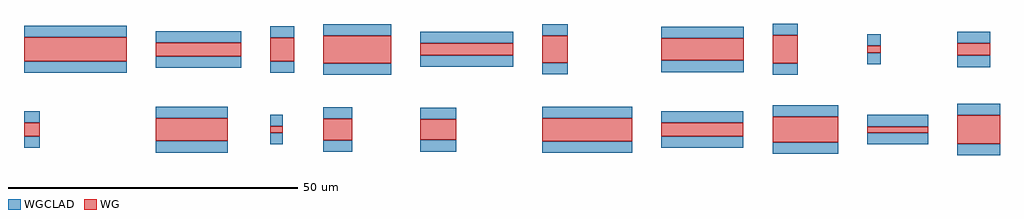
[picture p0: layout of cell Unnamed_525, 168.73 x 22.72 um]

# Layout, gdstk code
import gdstk
lib = gdstk.Library(unit=1e-6, precision=1e-09)
def R(c, l, rs):  # rectangles x0, y0, x1, y1
    for r in rs: c.add(gdstk.rectangle(r[:2], r[2:], *l))
WG = (1, 0)
WGCLAD = (111, 0)

straight_w4846_l4321_lwg = lib.new_cell('straight_W4846_L4321_LWG_EWGSTD')
R(straight_w4846_l4321_lwg, WG, [(0,-2.423,4.321,2.423)])
R(straight_w4846_l4321_lwg, WGCLAD, [(0,-4.423,4.321,-2.423), (0,2.423,4.321,4.423)])

straight_w3830_l14238_lw = lib.new_cell('straight_W3830_L14238_LWG_EWGSTD')
R(straight_w3830_l14238_lw, WG, [(0,-1.915,14.238,1.915)])
R(straight_w3830_l14238_lw, WGCLAD, [(0,-3.915,14.238,-1.915), (0,1.915,14.238,3.915)])

straight_w4680_l4388_lwg = lib.new_cell('straight_W4680_L4388_LWG_EWGSTD')
R(straight_w4680_l4388_lwg, WG, [(0,-2.34,4.388,2.34)])
R(straight_w4680_l4388_lwg, WGCLAD, [(0,-4.34,4.388,-2.34), (0,2.34,4.388,4.34)])

straight_w2060_l16113_lw = lib.new_cell('straight_W2060_L16113_LWG_EWGSTD')
R(straight_w2060_l16113_lw, WG, [(0,-1.03,16.113,1.03)])
R(straight_w2060_l16113_lw, WGCLAD, [(0,-3.03,16.113,-1.03), (0,1.03,16.113,3.03)])

straight_w1170_l2388_lwg = lib.new_cell('straight_W1170_L2388_LWG_EWGSTD')
R(straight_w1170_l2388_lwg, WG, [(0,-0.585,2.388,0.585)])
R(straight_w1170_l2388_lwg, WGCLAD, [(0,-2.585,2.388,-0.585), (0,0.585,2.388,2.585)])

straight_w4762_l11752_lw = lib.new_cell('straight_W4762_L11752_LWG_EWGSTD')
R(straight_w4762_l11752_lw, WG, [(0,-2.381,11.752,2.381)])
R(straight_w4762_l11752_lw, WGCLAD, [(0,-4.381,11.752,-2.381), (0,2.381,11.752,4.381)])

straight_w3598_l6196_lwg = lib.new_cell('straight_W3598_L6196_LWG_EWGSTD')
R(straight_w3598_l6196_lwg, WG, [(0,-1.799,6.196,1.799)])
R(straight_w3598_l6196_lwg, WGCLAD, [(0,-3.799,6.196,-1.799), (0,1.799,6.196,3.799)])

straight_w3962_l15564_lw = lib.new_cell('straight_W3962_L15564_LWG_EWGSTD')
R(straight_w3962_l15564_lw, WG, [(0,-1.981,15.564,1.981)])
R(straight_w3962_l15564_lw, WGCLAD, [(0,-3.981,15.564,-1.981), (0,1.981,15.564,3.981)])

straight_w1170_l2184_lwg = lib.new_cell('straight_W1170_L2184_LWG_EWGSTD')
R(straight_w1170_l2184_lwg, WG, [(0,-0.585,2.184,0.585)])
R(straight_w1170_l2184_lwg, WGCLAD, [(0,-2.585,2.184,-0.585), (0,0.585,2.184,2.585)])

straight_w3664_l5003_lwg = lib.new_cell('straight_W3664_L5003_LWG_EWGSTD')
R(straight_w3664_l5003_lwg, WG, [(0,-1.832,5.003,1.832)])
R(straight_w3664_l5003_lwg, WGCLAD, [(0,-3.832,5.003,-1.832), (0,1.832,5.003,3.832)])

straight_w3958_l12465_lw = lib.new_cell('straight_W3958_L12465_LWG_EWGSTD')
R(straight_w3958_l12465_lw, WG, [(0,-1.979,12.465,1.979)])
R(straight_w3958_l12465_lw, WGCLAD, [(0,-3.979,12.465,-1.979), (0,1.979,12.465,3.979)])

straight_w2304_l14141_lw = lib.new_cell('straight_W2304_L14141_LWG_EWGSTD')
R(straight_w2304_l14141_lw, WG, [(0,-1.152,14.141,1.152)])
R(straight_w2304_l14141_lw, WGCLAD, [(0,-3.152,14.141,-1.152), (0,1.152,14.141,3.152)])

straight_w4418_l11327_lw = lib.new_cell('straight_W4418_L11327_LWG_EWGSTD')
R(straight_w4418_l11327_lw, WG, [(0,-2.209,11.327,2.209)])
R(straight_w4418_l11327_lw, WGCLAD, [(0,-4.209,11.327,-2.209), (0,2.209,11.327,4.209)])

straight_w1040_l10619_lw = lib.new_cell('straight_W1040_L10619_LWG_EWGSTD')
R(straight_w1040_l10619_lw, WG, [(0,-0.52,10.619,0.52)])
R(straight_w1040_l10619_lw, WGCLAD, [(0,-2.52,10.619,-0.52), (0,0.52,10.619,2.52)])

straight_w2310_l2744_lwg = lib.new_cell('straight_W2310_L2744_LWG_EWGSTD')
R(straight_w2310_l2744_lwg, WG, [(0,-1.155,2.744,1.155)])
R(straight_w2310_l2744_lwg, WGCLAD, [(0,-3.155,2.744,-1.155), (0,1.155,2.744,3.155)])

straight_w4872_l7367_lwg = lib.new_cell('straight_W4872_L7367_LWG_EWGSTD')
R(straight_w4872_l7367_lwg, WG, [(0,-2.436,7.367,2.436)])
R(straight_w4872_l7367_lwg, WGCLAD, [(0,-4.436,7.367,-2.436), (0,2.436,7.367,4.436)])

straight_w2096_l5656_lwg = lib.new_cell('straight_W2096_L5656_LWG_EWGSTD')
R(straight_w2096_l5656_lwg, WG, [(0,-1.048,5.656,1.048)])
R(straight_w2096_l5656_lwg, WGCLAD, [(0,-3.048,5.656,-1.048), (0,1.048,5.656,3.048)])

straight_w4110_l17754_lw = lib.new_cell('straight_W4110_L17754_LWG_EWGSTD')
R(straight_w4110_l17754_lw, WG, [(0,-2.055,17.754,2.055)])
R(straight_w4110_l17754_lw, WGCLAD, [(0,-4.055,17.754,-2.055), (0,2.055,17.754,4.055)])

straight_w2316_l14814_lw = lib.new_cell('straight_W2316_L14814_LWG_EWGSTD')
R(straight_w2316_l14814_lw, WG, [(0,-1.158,14.814,1.158)])
R(straight_w2316_l14814_lw, WGCLAD, [(0,-3.158,14.814,-1.158), (0,1.158,14.814,3.158)])

straight_w4026_l4185_lwg = lib.new_cell('straight_W4026_L4185_LWG_EWGSTD')
R(straight_w4026_l4185_lwg, WG, [(0,-2.013,4.185,2.013)])
R(straight_w4026_l4185_lwg, WGCLAD, [(0,-4.013,4.185,-2.013), (0,2.013,4.185,4.013)])

unnamed_525 = lib.new_cell('Unnamed_525')
unnamed_525.add(gdstk.Reference(straight_w4846_l4321_lwg, (134.42,23.295)))
unnamed_525.add(gdstk.Reference(straight_w3830_l14238_lw, (115.182,23.295)))
unnamed_525.add(gdstk.Reference(straight_w4680_l4388_lwg, (94.618,23.295)))
unnamed_525.add(gdstk.Reference(straight_w2060_l16113_lw, (73.505,23.295)))
unnamed_525.add(gdstk.Reference(straight_w1170_l2388_lwg, (150.747,23.295)))
unnamed_525.add(gdstk.Reference(straight_w4762_l11752_lw, (56.753,23.295)))
unnamed_525.add(gdstk.Reference(straight_w3598_l6196_lwg, (73.505,9.436)))
unnamed_525.add(gdstk.Reference(straight_w3962_l15564_lw, (94.618,9.436)))
unnamed_525.add(gdstk.Reference(straight_w1170_l2184_lwg, (47.568,9.436)))
unnamed_525.add(gdstk.Reference(straight_w3664_l5003_lwg, (56.753,9.436)))
unnamed_525.add(gdstk.Reference(straight_w3958_l12465_lw, (27.754,9.436)))
unnamed_525.add(gdstk.Reference(straight_w2304_l14141_lw, (115.182,9.436)))
unnamed_525.add(gdstk.Reference(straight_w4418_l11327_lw, (134.42,9.436)))
unnamed_525.add(gdstk.Reference(straight_w1040_l10619_lw, (150.747,9.436)))
unnamed_525.add(gdstk.Reference(straight_w2310_l2744_lwg, (5,9.436)))
unnamed_525.add(gdstk.Reference(straight_w4872_l7367_lwg, (166.366,9.436)))
unnamed_525.add(gdstk.Reference(straight_w2096_l5656_lwg, (166.366,23.295)))
unnamed_525.add(gdstk.Reference(straight_w4110_l17754_lw, (5,23.295)))
unnamed_525.add(gdstk.Reference(straight_w2316_l14814_lw, (27.754,23.295)))
unnamed_525.add(gdstk.Reference(straight_w4026_l4185_lwg, (47.568,23.295)))

lib.write_gds('Unnamed_525.gds')
